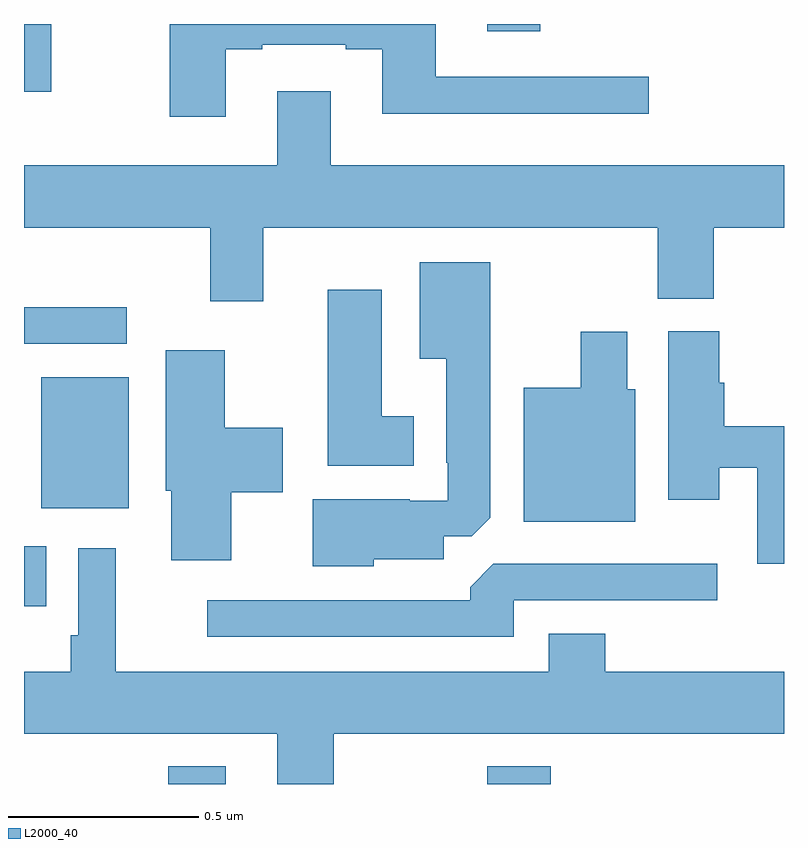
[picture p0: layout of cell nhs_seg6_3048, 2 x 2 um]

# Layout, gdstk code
import gdstk
lib = gdstk.Library(unit=1e-6, precision=1e-09)
def R(c, l, rs):  # rectangles x0, y0, x1, y1
    for r in rs: c.add(gdstk.rectangle(r[:2], r[2:], *l))
def P(c, l, *ps):  # polygons
    for p in ps: c.add(gdstk.Polygon(p, *l))
L2000_40 = (2000, 40)

nhs_seg6_3048 = lib.new_cell('nhs_seg6_3048')
R(nhs_seg6_3048, L2000_40, [(151.379,984.5,151.531,984.547), (152.219,984.5,152.386,984.547), (151,984.968,151.058,985.126), (151.046,985.226,151.276,985.57), (151,985.659,151.27,985.755), (151,986.322,151.072,986.5), (152.219,986.481,152.359,986.5)])
P(nhs_seg6_3048, L2000_40, [(151.531,986.433),(151.627,986.433),(151.627,986.445),(151.847,986.445),(151.847,986.433),(151.943,986.433),(151.943,986.264),(152.644,986.264),(152.644,986.361),(152.083,986.361),(152.083,986.5),(151.384,986.5),(151.384,986.256),(151.531,986.256)],
  [(151.63,985.964),(152.668,985.964),(152.668,985.777),(152.815,985.777),(152.815,985.964),(153,985.964),(153,986.128),(151.807,986.128),(151.807,986.323),(151.667,986.323),(151.667,986.128),(151,986.128),(151,985.964),(151.49,985.964),(151.49,985.77),(151.63,985.77)],
  [(151.92,985.091),(152.104,985.091),(152.104,985.152),(152.178,985.152),(152.227,985.201),(152.227,985.873),(152.042,985.873),(152.042,985.619),(152.111,985.619),(152.111,985.345),(152.115,985.345),(152.115,985.245),(152.015,985.245),(152.015,985.249),(151.76,985.249),(151.76,985.073),(151.92,985.073)],
  [(152.026,985.468),(151.942,985.468),(151.942,985.801),(151.799,985.801),(151.799,985.337),(152.026,985.337)],
  [(153,985.441),(152.843,985.441),(152.843,985.556),(152.83,985.556),(152.83,985.692),(152.696,985.692),(152.696,985.248),(152.83,985.248),(152.83,985.332),(152.93,985.332),(152.93,985.079),(153,985.079)],
  [(152.608,985.539),(152.587,985.539),(152.587,985.69),(152.465,985.69),(152.465,985.543),(152.315,985.543),(152.315,985.19),(152.608,985.19)],
  [(151.546,985.268),(151.681,985.268),(151.681,985.437),(151.528,985.437),(151.528,985.642),(151.373,985.642),(151.373,985.272),(151.388,985.272),(151.388,985.089),(151.546,985.089)],
  [(151.815,984.632),(153,984.632),(153,984.796),(152.529,984.796),(152.529,984.895),(152.381,984.895),(152.381,984.796),(151.242,984.796),(151.242,985.12),(151.143,985.12),(151.143,984.892),(151.123,984.892),(151.123,984.796),(151,984.796),(151,984.632),(151.667,984.632),(151.667,984.5),(151.815,984.5)],
  [(152.289,984.984),(152.824,984.984),(152.824,985.08),(152.235,985.08),(152.174,985.018),(152.174,984.984),(151.482,984.984),(151.482,984.888),(152.289,984.888)])

lib.write_gds('nhs_seg6_3048.gds')
